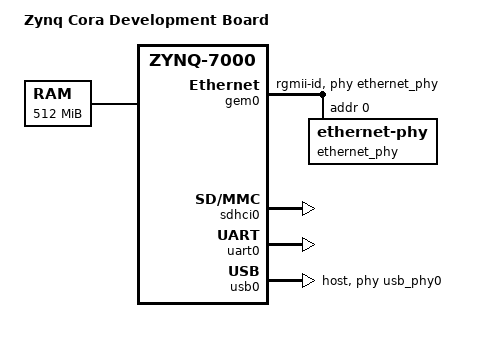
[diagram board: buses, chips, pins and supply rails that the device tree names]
// SPDX-License-Identifier: GPL-2.0+
/*
 *  Copyright (C) 2011 - 2015 Xilinx
 *  Copyright (C) 2012 National Instruments Corp.
 */
/dts-v1/;
/include/ "zynq-7000.dtsi"
/* #include "settings.h" */

/ {
	model = "Zynq Cora Development Board";
	compatible = "xlnx,zynq-coraz7", "xlnx,zynq-7000";

	aliases {
		ethernet0 = &gem0;
		serial0 = &uart0;
		mmc0 = &sdhci0;
	};

	memory@0 {
		device_type = "memory";
		reg = <0x0 0x20000000>;
	};


    	reserved-memory {
		#address-cells = <1>;
		#size-cells = <1>;
		ranges;
	        rmem: rmem@10000000 {
			reg = <0x10000000 0x10000000>;
/*
			no-map;
*/
		};
	};

	amba_pl {
		compatible = "simple-bus";
		#address-cells = <0x1>;
		#size-cells = <0x1>;
		ranges;


		htif@43c00000 {
			compatible = "generic-uio", "uio", "uio_pdrv";
			reg = <0x43c00000 0x1000>;
                        xlnx,dram-base = <0x1>;
			xlnx,dram-bits = <0x1d>;
			xlnx,s-axi-id-width = <0xc>;
		};
	};

    chosen {
		bootargs = "console=ttyPS0,115200 ram=256M root=/dev/mmcblk0p3  rw rootwait earlyprintk uio_pdrv_genirq.of_id=generic-uio";
		stdout-path = "serial0:115200n8";

	};

	usb_phy0: phy0@e0002000 {
		compatible = "ulpi-phy";
		#phy-cells = <0>;
		reg = <0xe0002000 0x1000>;
		view-port = <0x0170>;
		drv-vbus;
	};
};


&gem0 {
	status = "okay";
	phy-mode = "rgmii-id";
	phy-handle = <&ethernet_phy>;

	ethernet_phy: ethernet-phy@0 {
		reg = <0>;
		device_type = "ethernet-phy";
	};
};


&sdhci0 {
	u-boot,dm-pre-reloc;
	status = "okay";
};

&uart0 {
	u-boot,dm-pre-reloc;
	status = "okay";
/*
current-speed = <0x1c200>; 
*/
};

&usb0 {
	status = "okay";
	dr_mode = "host";
	usb-phy = <&usb_phy0>;
};
